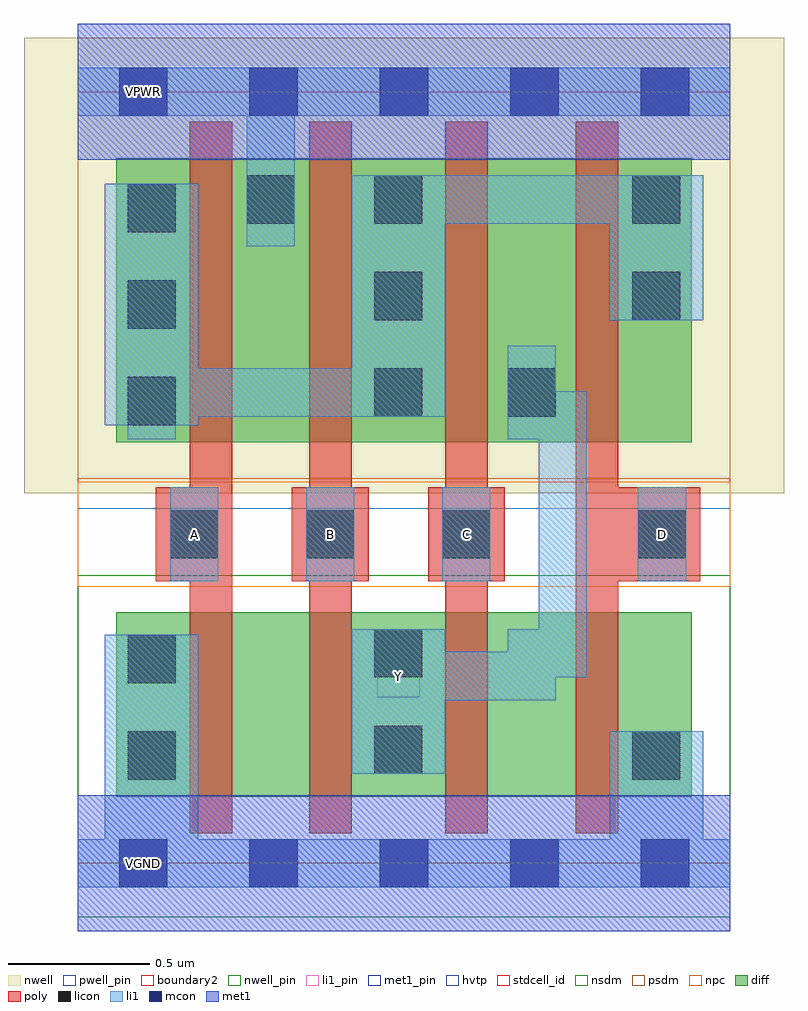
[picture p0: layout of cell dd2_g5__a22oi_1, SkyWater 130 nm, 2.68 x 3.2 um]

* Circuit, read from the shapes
.subckt dd2_g5__a22oi_1 A B C D VGND VNB VPB VPWR Y
XM1 n1 A VGND VNB sky130_fd_pr__nfet_01v8 w=0.65 l=0.15
XM2 Y B n1 VNB sky130_fd_pr__nfet_01v8 w=0.65 l=0.15
XM3 n2 C Y VNB sky130_fd_pr__nfet_01v8 w=0.65 l=0.15
XM4 VGND D n2 VNB sky130_fd_pr__nfet_01v8 w=0.65 l=0.15
XM5 VPWR A n3 VPB sky130_fd_pr__pfet_01v8_hvt w=1 l=0.15
XM6 n3 B VPWR VPB sky130_fd_pr__pfet_01v8_hvt w=1 l=0.15
XM7 Y C n3 VPB sky130_fd_pr__pfet_01v8_hvt w=1 l=0.15
XM8 n3 D Y VPB sky130_fd_pr__pfet_01v8_hvt w=1 l=0.15
.ends

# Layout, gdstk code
import gdstk
lib = gdstk.Library(unit=1e-6, precision=1e-09)
def R(c, l, rs):  # rectangles x0, y0, x1, y1
    for r in rs: c.add(gdstk.rectangle(r[:2], r[2:], *l))
def A(c, l, x, y, w, h, nx, ny, dx, dy):  # array of equal rectangles
    R(c, l, [(x+i*dx, y+j*dy, x+i*dx+w, y+j*dy+h) for i in range(nx) for j in range(ny)])
nwell_pin = (64, 16)
nwell = (64, 20)
diff = (65, 20)
poly = (66, 20)
licon = (66, 44)
li1_pin = (67, 16)
li1 = (67, 20)
mcon = (67, 44)
met1_pin = (68, 16)
met1 = (68, 20)
hvtp = (78, 44)
stdcell_id = (81, 4)
nsdm = (93, 44)
psdm = (94, 20)
npc = (95, 20)
pwell_pin = (122, 16)
boundary2 = (236, 0)

dd2_g5__a22oi_1 = lib.new_cell('dd2_g5__a22oi_1')
R(dd2_g5__a22oi_1, nwell_pin, [(0.145,2.635,0.315,2.805)])
R(dd2_g5__a22oi_1, nwell, [(-0.19,1.305,2.49,2.91)])
R(dd2_g5__a22oi_1, diff, [(0.135,0.235,0.89,0.885), (0.47,0.235,1.37,0.885), (0.89,0.235,1.83,0.885), (1.37,0.235,2.165,0.885), (0.135,1.485,0.89,2.485), (0.47,1.485,1.37,2.485), (0.89,1.485,1.83,2.485), (1.37,1.485,2.165,2.485)])
A(dd2_g5__a22oi_1, poly, 0.275, 0.995, 0.27, 0.33, 3, 1, 0.48, 0)
R(dd2_g5__a22oi_1, poly, [(0.395,0.105,0.545,2.615), (0.815,0.105,0.965,2.615), (1.295,0.105,1.445,2.615), (1.755,0.105,1.905,2.615), (1.755,0.995,2.195,1.325)])
A(dd2_g5__a22oi_1, licon, 0.325, 1.075, 0.17, 0.17, 3, 1, 0.48, 0)
A(dd2_g5__a22oi_1, licon, 0.175, 1.545, 0.17, 0.17, 1, 3, 0, 0.34)
A(dd2_g5__a22oi_1, licon, 1.045, 1.575, 0.17, 0.17, 1, 3, 0, 0.34)
R(dd2_g5__a22oi_1, licon, [(0.175,0.295,0.345,0.465), (1.955,0.295,2.125,0.465), (1.045,0.315,1.215,0.485), (0.175,0.635,0.345,0.805), (1.045,0.655,1.215,0.825), (1.975,1.075,2.145,1.245), (1.515,1.575,1.685,1.745), (1.955,1.915,2.125,2.085), (0.595,2.255,0.765,2.425), (1.955,2.255,2.125,2.425)])
A(dd2_g5__a22oi_1, li1_pin, 0.335, 1.085, 0.15, 0.15, 3, 1, 0.48, 0)
R(dd2_g5__a22oi_1, li1_pin, [(0.145,-0.085,0.315,0.085), (1.055,0.585,1.205,0.735), (1.985,1.085,2.135,1.235), (0.145,2.635,0.315,2.805)])
A(dd2_g5__a22oi_1, li1, 0.325, 0.995, 0.17, 0.33, 3, 1, 0.48, 0)
R(dd2_g5__a22oi_1, li1, [(0,-0.085,2.3,0.085), (0.095,0.085,0.425,0.805), (1.875,0.085,2.205,0.465), (0.965,0.315,1.295,0.575), (0.965,0.575,1.685,0.655), (0.965,0.655,1.795,0.745), (0.965,0.745,1.295,0.825), (1.515,0.745,1.795,0.825), (1.625,0.825,1.795,1.495), (1.975,0.995,2.145,1.325), (0.175,1.495,0.345,1.545), (1.515,1.495,1.795,1.665), (0.095,1.545,0.425,1.575), (0.095,1.575,1.295,1.745), (1.515,1.665,1.685,1.825), (0.095,1.745,0.425,2.395), (0.965,1.745,1.295,2.255), (1.875,1.915,2.205,2.255), (0.595,2.175,0.765,2.635), (0.965,2.255,2.205,2.425), (0,2.635,2.3,2.805)])
A(dd2_g5__a22oi_1, mcon, 0.145, -0.085, 0.17, 0.17, 5, 2, 0.46, 2.72)
R(dd2_g5__a22oi_1, met1_pin, [(0.145,-0.085,0.315,0.085), (0.145,2.635,0.315,2.805)])
R(dd2_g5__a22oi_1, met1, [(0,-0.24,2.3,0.24), (0,2.48,2.3,2.96)])
R(dd2_g5__a22oi_1, hvtp, [(0,1.25,2.3,2.72)])
R(dd2_g5__a22oi_1, stdcell_id, [(0,0,2.3,2.72)])
R(dd2_g5__a22oi_1, nsdm, [(0,-0.19,2.3,1.015)])
R(dd2_g5__a22oi_1, psdm, [(0,1.355,2.3,2.91)])
R(dd2_g5__a22oi_1, npc, [(0,0.975,2.3,1.345)])
R(dd2_g5__a22oi_1, pwell_pin, [(0.145,-0.085,0.315,0.085)])
R(dd2_g5__a22oi_1, boundary2, [(0,0,2.3,2.72)])
dd2_g5__a22oi_1.add(gdstk.Label('VPWR', (0.23,2.72), layer=68, texttype=5))
dd2_g5__a22oi_1.add(gdstk.Label('VGND', (0.23,0), layer=68, texttype=5))
dd2_g5__a22oi_1.add(gdstk.Label('VPWR', (0.23,2.72), layer=67, texttype=5))
dd2_g5__a22oi_1.add(gdstk.Label('VGND', (0.23,0), layer=67, texttype=5))
dd2_g5__a22oi_1.add(gdstk.Label('A', (0.41,1.16), layer=67, texttype=5))
dd2_g5__a22oi_1.add(gdstk.Label('B', (0.89,1.16), layer=67, texttype=5))
dd2_g5__a22oi_1.add(gdstk.Label('C', (1.37,1.16), layer=67, texttype=5))
dd2_g5__a22oi_1.add(gdstk.Label('D', (2.06,1.16), layer=67, texttype=5))
dd2_g5__a22oi_1.add(gdstk.Label('Y', (1.13,0.66), layer=67, texttype=5))
dd2_g5__a22oi_1.add(gdstk.Label('VPB', (0.23,2.72), layer=64, texttype=5))
dd2_g5__a22oi_1.add(gdstk.Label('VNB', (0.23,0), layer=64, texttype=59))

lib.write_gds('dd2_g5__a22oi_1.gds')
